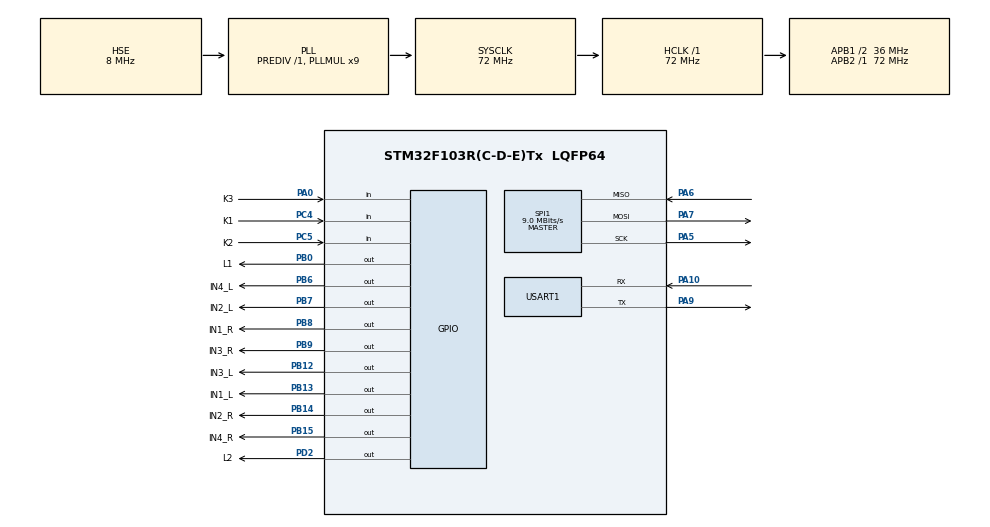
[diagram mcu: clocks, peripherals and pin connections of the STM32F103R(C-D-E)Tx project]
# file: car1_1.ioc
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Mcu.Family=STM32F1
Mcu.Name=STM32F103R(C-D-E)Tx
Mcu.Package=LQFP64
NVIC.PriorityGroup=NVIC_PRIORITYGROUP_4
PA0-WKUP.GPIO_Label=K3
PA0-WKUP.GPIO_PuPd=GPIO_PULLDOWN
PA0-WKUP.Signal=GPIO_Input
PA10.Mode=Asynchronous
PA10.Signal=USART1_RX
PA13.Mode=Serial_Wire
PA13.Signal=SYS_JTMS-SWDIO
PA14.Mode=Serial_Wire
PA14.Signal=SYS_JTCK-SWCLK
PA5.Mode=Full_Duplex_Master
PA5.Signal=SPI1_SCK
PA6.Mode=Full_Duplex_Master
PA6.Signal=SPI1_MISO
PA7.Mode=Full_Duplex_Master
PA7.Signal=SPI1_MOSI
PA9.Mode=Asynchronous
PA9.Signal=USART1_TX
PB0.GPIO_Label=L1
PB0.Signal=GPIO_Output
PB12.GPIO_Label=IN3_L
PB12.Signal=GPIO_Output
PB13.GPIO_Label=IN1_L
PB13.Signal=GPIO_Output
PB14.GPIO_Label=IN2_R
PB14.Signal=GPIO_Output
PB15.GPIO_Label=IN4_R
PB15.Signal=GPIO_Output
PB6.GPIO_Label=IN4_L
PB6.Signal=GPIO_Output
PB7.GPIO_Label=IN2_L
PB7.Signal=GPIO_Output
PB8.GPIO_Label=IN1_R
PB8.Signal=GPIO_Output
PB9.GPIO_Label=IN3_R
PB9.Signal=GPIO_Output
PC4.GPIO_Label=K1
PC4.GPIO_PuPd=GPIO_PULLUP
PC4.Signal=GPIO_Input
PC5.GPIO_Label=K2
PC5.GPIO_PuPd=GPIO_PULLUP
PC5.Signal=GPIO_Input
PD0-OSC_IN.Mode=HSE-External-Oscillator
PD0-OSC_IN.Signal=RCC_OSC_IN
PD1-OSC_OUT.Mode=HSE-External-Oscillator
PD1-OSC_OUT.Signal=RCC_OSC_OUT
PD2.GPIO_Label=L2
PD2.Signal=GPIO_Output
ProjectManager.HeapSize=0x200
ProjectManager.StackSize=0x400
ProjectManager.TargetToolchain=STM32CubeIDE
RCC.AHBFreq_Value=72000000
RCC.APB1CLKDivider=RCC_HCLK_DIV2
RCC.APB1Freq_Value=36000000
RCC.APB1TimFreq_Value=72000000
RCC.APB2Freq_Value=72000000
RCC.APB2TimFreq_Value=72000000
RCC.HCLKFreq_Value=72000000
RCC.PLLMUL=RCC_PLL_MUL9
RCC.PLLSourceVirtual=RCC_PLLSOURCE_HSE
RCC.SYSCLKFreq_VALUE=72000000
RCC.SYSCLKSource=RCC_SYSCLKSOURCE_PLLCLK
RCC.USBFreq_Value=72000000
SPI1.BaudRatePrescaler=SPI_BAUDRATEPRESCALER_8
SPI1.CalculateBaudRate=9.0 MBits/s
SPI1.Direction=SPI_DIRECTION_2LINES
SPI1.Mode=SPI_MODE_MASTER
SPI1.VirtualType=VM_MASTER
USART1.VirtualMode=VM_ASYNC
board=custom

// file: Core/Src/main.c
/* USER CODE BEGIN Header */
/**
 ******************************************************************************
 * @file           : main.c
 * @brief          : Main program body
 ******************************************************************************
 * @attention
 *
 * Copyright (c) 2025 STMicroelectronics.
 * All rights reserved.
 *
 * This software is licensed under terms that can be found in the LICENSE file
 * in the root directory of this software component.
 * If no LICENSE file comes with this software, it is provided AS-IS.
 *
 ******************************************************************************
 */
/* USER CODE END Header */
#include "main.h"
#include "sys.h"
#include "delay.h"
//#include "usart.h"
#include "led.h"
#include "key.h"
#include "lcd.h"
//#include "usmart.h"
#include "touch.h"
#include "24cxx.h"
#include "24l01.h" //通信驱动 基于spi进行通信

SPI_HandleTypeDef hspi1;

UART_HandleTypeDef huart1;

/* USER CODE BEGIN PV */
int detect_keys(){
	if(HAL_GPIO_ReadPin(K1_GPIO_Port, K1_Pin) == GPIO_PIN_RESET &&
			HAL_GPIO_ReadPin(K2_GPIO_Port, K2_Pin) == GPIO_PIN_SET &&
			HAL_GPIO_ReadPin(K3_GPIO_Port, K3_Pin) == GPIO_PIN_RESET)
		return 1;
	else if(HAL_GPIO_ReadPin(K1_GPIO_Port, K1_Pin) == GPIO_PIN_SET &&
			HAL_GPIO_ReadPin(K2_GPIO_Port, K2_Pin) == GPIO_PIN_RESET &&
			HAL_GPIO_ReadPin(K3_GPIO_Port, K3_Pin) == GPIO_PIN_RESET)
		return 2;
	else if(HAL_GPIO_ReadPin(K1_GPIO_Port, K1_Pin) == GPIO_PIN_SET &&
			HAL_GPIO_ReadPin(K2_GPIO_Port, K2_Pin) == GPIO_PIN_SET &&
			HAL_GPIO_ReadPin(K3_GPIO_Port, K3_Pin) == GPIO_PIN_SET)
		return 3;
	else
		return 0;
}

void reset(){
	HAL_GPIO_WritePin(L1_GPIO_Port, L1_Pin, GPIO_PIN_RESET);
	HAL_GPIO_WritePin(L2_GPIO_Port, L1_Pin, GPIO_PIN_RESET);
	HAL_GPIO_WritePin(IN1_L_GPIO_Port, IN1_L_Pin, GPIO_PIN_RESET);
	HAL_GPIO_WritePin(IN2_L_GPIO_Port, IN2_L_Pin, GPIO_PIN_RESET);
	HAL_GPIO_WritePin(IN3_L_GPIO_Port, IN3_L_Pin, GPIO_PIN_RESET);
	HAL_GPIO_WritePin(IN4_L_GPIO_Port, IN4_L_Pin, GPIO_PIN_RESET);
	HAL_GPIO_WritePin(IN1_R_GPIO_Port, IN1_R_Pin, GPIO_PIN_RESET);
	HAL_GPIO_WritePin(IN2_R_GPIO_Port, IN2_R_Pin, GPIO_PIN_RESET);
	HAL_GPIO_WritePin(IN3_R_GPIO_Port, IN3_R_Pin, GPIO_PIN_RESET);
	HAL_GPIO_WritePin(IN4_R_GPIO_Port, IN4_R_Pin, GPIO_PIN_RESET);
}

void forward(){
	HAL_GPIO_WritePin(IN1_L_GPIO_Port, IN1_L_Pin, GPIO_PIN_RESET);
	HAL_GPIO_WritePin(IN2_L_GPIO_Port, IN2_L_Pin, GPIO_PIN_SET);
	HAL_GPIO_WritePin(IN3_L_GPIO_Port, IN3_L_Pin, GPIO_PIN_RESET);
	HAL_GPIO_WritePin(IN4_L_GPIO_Port, IN4_L_Pin, GPIO_PIN_SET);
	HAL_GPIO_WritePin(IN1_R_GPIO_Port, IN1_R_Pin, GPIO_PIN_RESET);
	HAL_GPIO_WritePin(IN2_R_GPIO_Port, IN2_R_Pin, GPIO_PIN_SET);
	HAL_GPIO_WritePin(IN3_R_GPIO_Port, IN3_R_Pin, GPIO_PIN_SET);
	HAL_GPIO_WritePin(IN4_R_GPIO_Port, IN4_R_Pin, GPIO_PIN_RESET);
}

void backward(){
	HAL_GPIO_WritePin(IN1_L_GPIO_Port, IN1_L_Pin, GPIO_PIN_SET);
	HAL_GPIO_WritePin(IN2_L_GPIO_Port, IN2_L_Pin, GPIO_PIN_RESET);
	HAL_GPIO_WritePin(IN3_L_GPIO_Port, IN3_L_Pin, GPIO_PIN_SET);
	HAL_GPIO_WritePin(IN4_L_GPIO_Port, IN4_L_Pin, GPIO_PIN_RESET);
	HAL_GPIO_WritePin(IN1_R_GPIO_Port, IN1_R_Pin, GPIO_PIN_SET);
	HAL_GPIO_WritePin(IN2_R_GPIO_Port, IN2_R_Pin, GPIO_PIN_RESET);
	HAL_GPIO_WritePin(IN3_R_GPIO_Port, IN3_R_Pin, GPIO_PIN_RESET);
	HAL_GPIO_WritePin(IN4_R_GPIO_Port, IN4_R_Pin, GPIO_PIN_SET);
}
/* USER CODE END PV */

void SystemClock_Config(void);
static void MX_GPIO_Init(void);
static void MX_SPI1_Init(void);
static void MX_USART1_UART_Init(void);

int main(void)
{

  /* MCU Configuration--------------------------------------------------------*/

  /* Reset of all peripherals, Initializes the Flash interface and the Systick. */
  HAL_Init();

  /* USER CODE BEGIN Init */
	reset();
  /* USER CODE END Init */

  /* Configure the system clock */
  SystemClock_Config();

  /* Initialize all configured peripherals */
  MX_GPIO_Init();
  MX_SPI1_Init();
  MX_USART1_UART_Init();
  /* USER CODE BEGIN 2 */
//  reset();
  /* USER CODE END 2 */

  /* Infinite loop */
  /* USER CODE BEGIN WHILE */

	int key;
	while (1)
	{
		key = detect_keys();
    /* USER CODE END WHILE */

    /* USER CODE BEGIN 3 */
		if (key == 1){
			HAL_GPIO_WritePin(L1_GPIO_Port, L1_Pin, GPIO_PIN_RESET);
			forward();
		}
		else if (key == 2){
			HAL_GPIO_WritePin(L2_GPIO_Port, L2_Pin, GPIO_PIN_RESET);
			backward();
		}
		else if (key == 3){
			HAL_GPIO_TogglePin(L1_GPIO_Port, L1_Pin);
			HAL_GPIO_TogglePin(L2_GPIO_Port, L2_Pin);
			HAL_Delay(1000);
		}
		else{
			reset();
		}
	}
  /* USER CODE END 3 */
}

void SystemClock_Config(void)
{
  RCC_OscInitTypeDef RCC_OscInitStruct = {0};
  RCC_ClkInitTypeDef RCC_ClkInitStruct = {0};

  /** Initializes the RCC Oscillators according to the specified parameters
  * in the RCC_OscInitTypeDef structure.
  */
  RCC_OscInitStruct.OscillatorType = RCC_OSCILLATORTYPE_HSE;
  RCC_OscInitStruct.HSEState = RCC_HSE_ON;
  RCC_OscInitStruct.HSEPredivValue = RCC_HSE_PREDIV_DIV1;
  RCC_OscInitStruct.HSIState = RCC_HSI_ON;
  RCC_OscInitStruct.PLL.PLLState = RCC_PLL_ON;
  RCC_OscInitStruct.PLL.PLLSource = RCC_PLLSOURCE_HSE;
  RCC_OscInitStruct.PLL.PLLMUL = RCC_PLL_MUL9;
  if (HAL_RCC_OscConfig(&RCC_OscInitStruct) != HAL_OK)
  {
    Error_Handler();
  }

  /** Initializes the CPU, AHB and APB buses clocks
  */
  RCC_ClkInitStruct.ClockType = RCC_CLOCKTYPE_HCLK|RCC_CLOCKTYPE_SYSCLK
                              |RCC_CLOCKTYPE_PCLK1|RCC_CLOCKTYPE_PCLK2;
  RCC_ClkInitStruct.SYSCLKSource = RCC_SYSCLKSOURCE_PLLCLK;
  RCC_ClkInitStruct.AHBCLKDivider = RCC_SYSCLK_DIV1;
  RCC_ClkInitStruct.APB1CLKDivider = RCC_HCLK_DIV2;
  RCC_ClkInitStruct.APB2CLKDivider = RCC_HCLK_DIV1;

  if (HAL_RCC_ClockConfig(&RCC_ClkInitStruct, FLASH_LATENCY_2) != HAL_OK)
  {
    Error_Handler();
  }
}

static void MX_SPI1_Init(void)
{

  /* SPI1 parameter configuration*/
  hspi1.Instance = SPI1;
  hspi1.Init.Mode = SPI_MODE_MASTER;
  hspi1.Init.Direction = SPI_DIRECTION_2LINES;
  hspi1.Init.DataSize = SPI_DATASIZE_8BIT;
  hspi1.Init.CLKPolarity = SPI_POLARITY_LOW;
  hspi1.Init.CLKPhase = SPI_PHASE_1EDGE;
  hspi1.Init.NSS = SPI_NSS_SOFT;
  hspi1.Init.BaudRatePrescaler = SPI_BAUDRATEPRESCALER_8;
  hspi1.Init.FirstBit = SPI_FIRSTBIT_MSB;
  hspi1.Init.TIMode = SPI_TIMODE_DISABLE;
  hspi1.Init.CRCCalculation = SPI_CRCCALCULATION_DISABLE;
  hspi1.Init.CRCPolynomial = 10;
  if (HAL_SPI_Init(&hspi1) != HAL_OK)
  {
    Error_Handler();
  }

}

static void MX_USART1_UART_Init(void)
{

  huart1.Instance = USART1;
  huart1.Init.BaudRate = 115200;
  huart1.Init.WordLength = UART_WORDLENGTH_8B;
  huart1.Init.StopBits = UART_STOPBITS_1;
  huart1.Init.Parity = UART_PARITY_NONE;
  huart1.Init.Mode = UART_MODE_TX_RX;
  huart1.Init.HwFlowCtl = UART_HWCONTROL_NONE;
  huart1.Init.OverSampling = UART_OVERSAMPLING_16;
  if (HAL_UART_Init(&huart1) != HAL_OK)
  {
    Error_Handler();
  }

}

static void MX_GPIO_Init(void)
{
  GPIO_InitTypeDef GPIO_InitStruct = {0};

  /* GPIO Ports Clock Enable */
  __HAL_RCC_GPIOD_CLK_ENABLE();
  __HAL_RCC_GPIOA_CLK_ENABLE();
  __HAL_RCC_GPIOC_CLK_ENABLE();
  __HAL_RCC_GPIOB_CLK_ENABLE();

  /*Configure GPIO pin Output Level */
  HAL_GPIO_WritePin(GPIOB, L1_Pin|IN3_L_Pin|IN1_L_Pin|IN2_R_Pin
                          |IN4_R_Pin|IN4_L_Pin|IN2_L_Pin|IN1_R_Pin
                          |IN3_R_Pin, GPIO_PIN_RESET);

  /*Configure GPIO pin Output Level */
  HAL_GPIO_WritePin(L2_GPIO_Port, L2_Pin, GPIO_PIN_RESET);

  /*Configure GPIO pin : K3_Pin */
  GPIO_InitStruct.Pin = K3_Pin;
  GPIO_InitStruct.Mode = GPIO_MODE_INPUT;
  GPIO_InitStruct.Pull = GPIO_PULLDOWN;
  HAL_GPIO_Init(K3_GPIO_Port, &GPIO_InitStruct);

  /*Configure GPIO pins : K1_Pin K2_Pin */
  GPIO_InitStruct.Pin = K1_Pin|K2_Pin;
  GPIO_InitStruct.Mode = GPIO_MODE_INPUT;
  GPIO_InitStruct.Pull = GPIO_PULLUP;
  HAL_GPIO_Init(GPIOC, &GPIO_InitStruct);

  /*Configure GPIO pins : L1_Pin IN3_L_Pin IN1_L_Pin IN2_R_Pin
                           IN4_R_Pin IN4_L_Pin IN2_L_Pin IN1_R_Pin
                           IN3_R_Pin */
  GPIO_InitStruct.Pin = L1_Pin|IN3_L_Pin|IN1_L_Pin|IN2_R_Pin
                          |IN4_R_Pin|IN4_L_Pin|IN2_L_Pin|IN1_R_Pin
                          |IN3_R_Pin;
  GPIO_InitStruct.Mode = GPIO_MODE_OUTPUT_PP;
  GPIO_InitStruct.Pull = GPIO_NOPULL;
  GPIO_InitStruct.Speed = GPIO_SPEED_FREQ_LOW;
  HAL_GPIO_Init(GPIOB, &GPIO_InitStruct);

  /*Configure GPIO pin : L2_Pin */
  GPIO_InitStruct.Pin = L2_Pin;
  GPIO_InitStruct.Mode = GPIO_MODE_OUTPUT_PP;
  GPIO_InitStruct.Pull = GPIO_NOPULL;
  GPIO_InitStruct.Speed = GPIO_SPEED_FREQ_LOW;
  HAL_GPIO_Init(L2_GPIO_Port, &GPIO_InitStruct);

}

void Error_Handler(void)
{
	__disable_irq();
	while (1)
	{
	}
}
